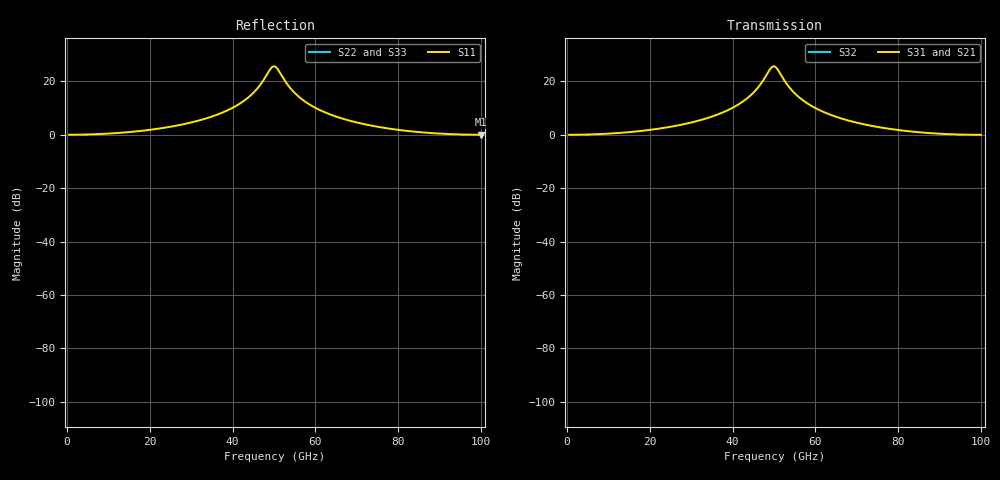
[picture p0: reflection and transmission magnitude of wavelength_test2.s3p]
! File created by SignalIntegrity v1.4.1: Signal and Power Integrity Tools
! https://github.com/Nubis-Communications/SignalIntegrity
# MHz S MA R 50.0
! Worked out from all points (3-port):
!   200 points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, 500 MHz to 100 GHz, reference 50 ohm
!   strongest paths, dB at 500 MHz, 25.5 GHz, 50.5 GHz, 75.5 GHz, 100 GHz:
!     S31: 0.0, 3.1, 25.2, 2.8, 0.0
!     S21: 0.0, 3.1, 25.2, 2.8, 0.0
!     S32: -, -, -, -, -
!   lowest |S11| = 0.0 dB at 100 GHz (marker M1)
!   |S11| at or under -10 dB: nowhere
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500  1 -0.0  0 0.0  0 0.0
     1 -0.0  0 0.0  0 0.0
     1 -0.0  0 0.0  0 0.0
42500  4.186 -12.2  0 0.0  0 0.0
       4.203 -12.2  0 0.0  0 0.0
       4.203 -12.2  0 0.0  0 0.0
46500  8.244 -25.2  0 0.0  0 0.0
       8.327 -25.4  0 0.0  0 0.0
       8.327 -25.4  0 0.0  0 0.0
48500  14.26 -47.8  0 0.0  0 0.0
       14.48 -48.6  0 0.0  0 0.0
       14.48 -48.6  0 0.0  0 0.0
49500  18.41 -73.2  0 0.0  0 0.0
       18.61 -74.7  0 0.0  0 0.0
       18.61 -74.7  0 0.0  0 0.0
50500  18.41 -106.8  0 0.0  0 0.0
       18.29 -108.5  0 0.0  0 0.0
       18.29 -108.5  0 0.0  0 0.0
51500  14.26 -132.2  0 0.0  0 0.0
       14.04 -133.3  0 0.0  0 0.0
       14.04 -133.3  0 0.0  0 0.0
53000  9.31 -151.2  0 0.0  0 0.0
       9.173 -151.8  0 0.0  0 0.0
       9.173 -151.8  0 0.0  0 0.0
56500  4.782 -165.9  0 0.0  0 0.0
       4.733 -166.1  0 0.0  0 0.0
       4.733 -166.1  0 0.0  0 0.0
100000  0.9999 180.0  0 0.0  0 0.0
        1 180.0  0 0.0  0 0.0
        1 180.0  0 0.0  0 0.0
